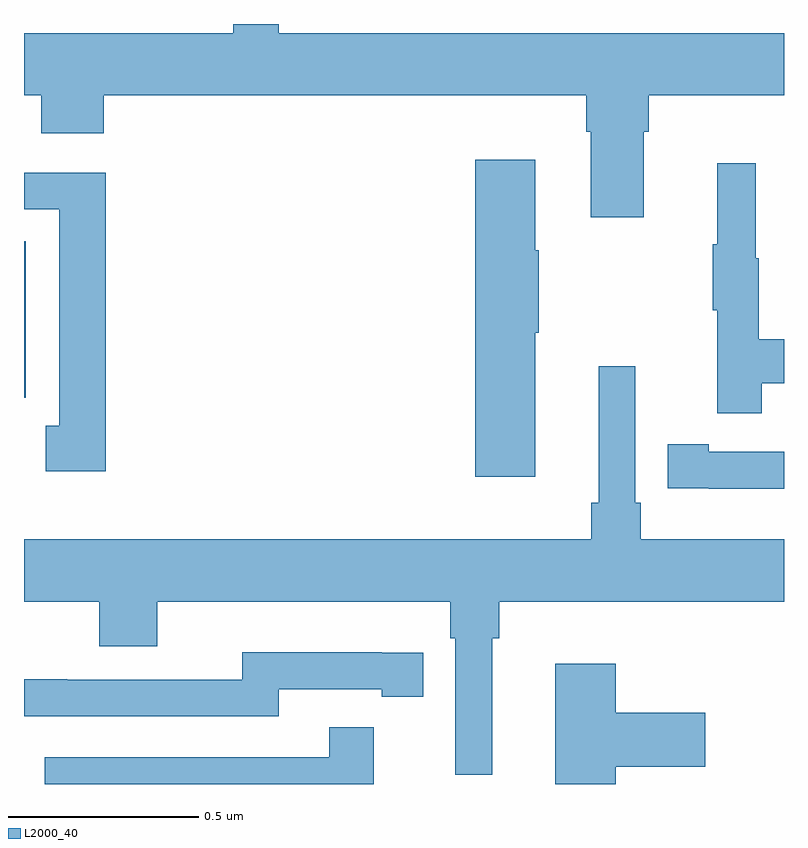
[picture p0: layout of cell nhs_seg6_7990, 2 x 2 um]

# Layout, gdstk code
import gdstk
lib = gdstk.Library(unit=1e-6, precision=1e-09)
def R(c, l, rs):  # rectangles x0, y0, x1, y1
    for r in rs: c.add(gdstk.rectangle(r[:2], r[2:], *l))
def P(c, l, *ps):  # polygons
    for p in ps: c.add(gdstk.Polygon(p, *l))
L2000_40 = (2000, 40)

nhs_seg6_7990 = lib.new_cell('nhs_seg6_7990')
R(nhs_seg6_7990, L2000_40, [(215,970.516,215.005,970.928)])
P(nhs_seg6_7990, L2000_40, [(216.631,971.216),(216.644,971.216),(216.644,971.312),(217,971.312),(217,971.476),(215.671,971.476),(215.671,971.5),(215.55,971.5),(215.55,971.476),(215,971.476),(215,971.312),(215.045,971.312),(215.045,971.213),(215.21,971.213),(215.21,971.312),(216.479,971.312),(216.479,971.216),(216.491,971.216),(216.491,970.992),(216.631,970.992)],
  [(216.346,970.687),(216.354,970.687),(216.354,970.904),(216.346,970.904),(216.346,971.143),(216.188,971.143),(216.188,970.308),(216.346,970.308)],
  [(216.941,970.554),(217,970.554),(217,970.67),(216.934,970.67),(216.934,970.884),(216.926,970.884),(216.926,971.134),(216.824,971.134),(216.824,970.921),(216.813,970.921),(216.813,970.747),(216.824,970.747),(216.824,970.476),(216.941,970.476)],
  [(215.215,971.109),(215,971.109),(215,971.013),(215.093,971.013),(215.093,970.443),(215.057,970.443),(215.057,970.323),(215.215,970.323)],
  [(216.232,969.884),(216.251,969.884),(216.251,969.98),(217,969.98),(217,970.144),(216.623,970.144),(216.623,970.24),(216.609,970.24),(216.609,970.6),(216.512,970.6),(216.512,970.24),(216.493,970.24),(216.493,970.144),(215,970.144),(215,969.98),(215.198,969.98),(215.198,969.863),(215.35,969.863),(215.35,969.98),(216.122,969.98),(216.122,969.884),(216.135,969.884),(216.135,969.525),(216.232,969.525)],
  [(217,970.374),(216.802,970.374),(216.802,970.394),(216.694,970.394),(216.694,970.278),(216.802,970.278),(216.802,970.277),(217,970.277)],
  [(215.67,969.75),(215.942,969.75),(215.942,969.73),(216.05,969.73),(216.05,969.846),(215.942,969.846),(215.942,969.847),(215.574,969.847),(215.574,969.774),(215.114,969.774),(215.114,969.776),(215,969.776),(215,969.678),(215.67,969.678)],
  [(216.557,969.545),(216.793,969.545),(216.793,969.687),(216.557,969.687),(216.557,969.817),(216.398,969.817),(216.398,969.5),(216.557,969.5)],
  [(215.921,969.649),(215.803,969.649),(215.803,969.57),(215.055,969.57),(215.055,969.5),(215.921,969.5)])

lib.write_gds('nhs_seg6_7990.gds')
